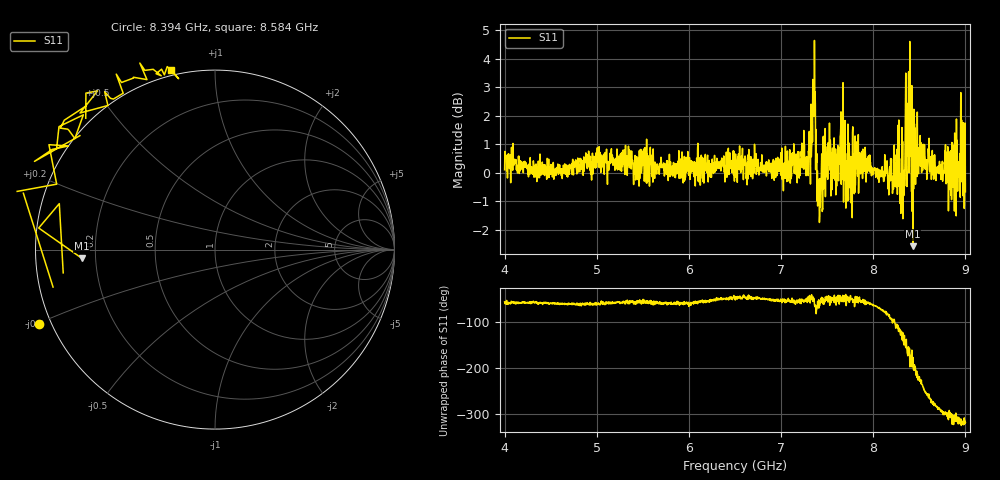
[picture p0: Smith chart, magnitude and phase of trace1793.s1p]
! Created with skrf 1.8.0 (http://scikit-rf.org).
# Hz S RI R 50.0
!freq ReS11 ImS11
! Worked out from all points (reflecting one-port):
!   1601 points, 4 GHz to 9 GHz, reference 50 ohm
!   lowest |S11| = -2.6 dB at 8.431 GHz (marker M1), VSWR 6.79, Z = 7.37 - j1.6 ohm
!   phase of S11 starts at -56 deg and turns -262 deg over the sweep
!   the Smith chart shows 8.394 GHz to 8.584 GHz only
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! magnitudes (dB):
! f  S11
! 4 GHz  0.1
! 4.625 GHz  -0.2
! 5.25 GHz  0.1
! 5.875 GHz  0.1
! 6.5 GHz  0.1
! 7.125 GHz  0.7
! 7.294 GHz  -0.1
! 7.347 GHz  3.1
! 7.369 GHz  2.8
! 7.4 GHz  -0.4
! 7.409 GHz  -0.9
! 7.503 GHz  0.4
! 7.603 GHz  -0.5
! 7.669 GHz  1.2
! 7.722 GHz  -0.5
! 7.75 GHz  0.4
! 7.862 GHz  0.0
! 8.222 GHz  -0.2
! 8.262 GHz  -0.8
! 8.316 GHz  0.0
! 8.331 GHz  -0.8
! 8.375 GHz  1.4
! 8.431 GHz  -2.6
! 8.447 GHz  1.7
! 8.459 GHz  -0.4
! 8.825 GHz  0.5
! 8.972 GHz  0.4
! 9 GHz  -0.7
